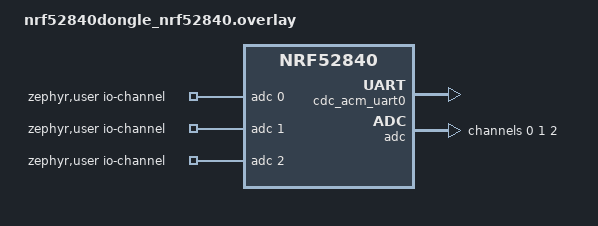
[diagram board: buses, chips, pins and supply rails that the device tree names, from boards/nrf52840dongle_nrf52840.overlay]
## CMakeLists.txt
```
#
# Copyright (c) 2018 Nordic Semiconductor
#
# SPDX-License-Identifier: LicenseRef-Nordic-5-Clause
#
cmake_minimum_required(VERSION 3.20.0)

find_package(Zephyr REQUIRED HINTS $ENV{ZEPHYR_BASE})
project(NONE)

# NORDIC SDK APP START
target_sources(app PRIVATE
  src/main.c
  src/my_lbs.c
  src/sensor.c
)

# NORDIC SDK APP END
zephyr_library_include_directories(.)

target_include_directories(app PRIVATE src)
```

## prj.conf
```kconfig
#
# Copyright (c) 2018 Nordic Semiconductor
#
# SPDX-License-Identifier: LicenseRef-Nordic-5-Clause
#
CONFIG_ADC=y
# Logger module
CONFIG_LOG=y

# Button and LED library
CONFIG_DK_LIBRARY=y

# Bluetooth LE
CONFIG_BT=y
CONFIG_BT_PERIPHERAL=y
CONFIG_BT_DEVICE_NAME="MY_LBS2"

# Increase stack size for the main thread and System Workqueue
CONFIG_SYSTEM_WORKQUEUE_STACK_SIZE=2048
CONFIG_MAIN_STACK_SIZE=2048
```

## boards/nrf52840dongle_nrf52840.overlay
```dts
/*
 * Copyright (c) 2021 Nordic Semiconductor ASA
 *
 * SPDX-License-Identifier: LicenseRef-Nordic-5-Clause
 */



/ {
	chosen {
		zephyr,console = &cdc_acm_uart0;
	};
};

&zephyr_udc0 {
	cdc_acm_uart0: cdc_acm_uart0 {
		compatible = "zephyr,cdc-acm-uart";
	};
};

&adc {
	status = "okay";
	#address-cells = <1>;
	#size-cells = <0>;

	channel@0 {
		reg = <0>;
		zephyr,gain = "ADC_GAIN_1_6";
		zephyr,reference = "ADC_REF_INTERNAL";
		zephyr,acquisition-time = <ADC_ACQ_TIME_DEFAULT>;
		zephyr,input-positive = <NRF_SAADC_AIN0>; /* P0.03 */
		zephyr,resolution = <12>;
	};

	channel@1 {
		reg = <1>;
		zephyr,gain = "ADC_GAIN_1_6";
		zephyr,reference = "ADC_REF_INTERNAL";
		zephyr,acquisition-time = <ADC_ACQ_TIME_DEFAULT>;
		zephyr,input-positive = <NRF_SAADC_AIN1>;
		zephyr,resolution = <12>;
		//zephyr,oversampling = <8>;
	};

	channel@2 {
		reg = <2>;
		zephyr,gain = "ADC_GAIN_1_6";
		zephyr,reference = "ADC_REF_INTERNAL";
		zephyr,acquisition-time = <ADC_ACQ_TIME_DEFAULT>;
		zephyr,input-positive = <NRF_SAADC_AIN2>;
		zephyr,resolution = <12>;
		//zephyr,oversampling = <8>;
	};


};

/ {
	zephyr,user {
		io-channels = <&adc 0>, <&adc 1>, <&adc 2>;
	};
};
```

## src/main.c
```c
/*
 * Copyright (c) 2023 Nordic Semiconductor ASA
 *
 * SPDX-License-Identifier: LicenseRef-Nordic-5-Clause
 */

#include <zephyr/kernel.h>
#include <zephyr/logging/log.h>
#include <zephyr/bluetooth/bluetooth.h>
#include <zephyr/bluetooth/gap.h>
#include <zephyr/bluetooth/uuid.h>
#include <zephyr/bluetooth/conn.h>
#include <dk_buttons_and_leds.h>
#include "my_lbs.h"
#include "sensor.h"

//Global variables here. I know its a bad practice
int currentDirection=0;


static const struct bt_le_adv_param *adv_param = BT_LE_ADV_PARAM(
	(BT_LE_ADV_OPT_CONN |
	 BT_LE_ADV_OPT_USE_IDENTITY), /* Connectable advertising and use identity address */
	800, /* Min Advertising Interval 500ms (800*0.625ms) */
	801, /* Max Advertising Interval 500.625ms (801*0.625ms) */
	NULL); /* Set to NULL for undirected advertising */

LOG_MODULE_REGISTER(Lesson4_Exercise2, LOG_LEVEL_INF);

#define DEVICE_NAME CONFIG_BT_DEVICE_NAME
#define DEVICE_NAME_LEN (sizeof(DEVICE_NAME) - 1)

#define RUN_STATUS_LED DK_LED1
#define CON_STATUS_LED DK_LED2
#define USER_LED DK_LED3
#define USER_BUTTON DK_BTN1_MSK

#define STACKSIZE 1024
#define PRIORITY 7

#define RUN_LED_BLINK_INTERVAL 1000
/* STEP 17 - Define the interval at which you want to send data at */
#define NOTIFY_INTERVAL 500
static bool app_button_state;
static struct k_work adv_work;
/* STEP 15 - Define the data you want to stream over Bluetooth LE */
static uint32_t app_sensor_value = 100;

static const struct bt_data ad[] = {
	BT_DATA_BYTES(BT_DATA_FLAGS, (BT_LE_AD_GENERAL | BT_LE_AD_NO_BREDR)),
	BT_DATA(BT_DATA_NAME_COMPLETE, DEVICE_NAME, DEVICE_NAME_LEN),

};

static const struct bt_data sd[] = {
	BT_DATA_BYTES(BT_DATA_UUID128_ALL, BT_UUID_LBS_VAL),
};

static void adv_work_handler(struct k_work *work)
{
	int err = bt_le_adv_start(adv_param, ad, ARRAY_SIZE(ad), sd, ARRAY_SIZE(sd));

	if (err) {
		printk("Advertising failed to start (err %d)\n", err);
		return;
	}

	printk("Advertising successfully started\n");
}
static void advertising_start(void)
{
	k_work_submit(&adv_work);
}
static void recycled_cb(void)
{
	printk("Connection object available from previous conn. Disconnect is complete!\n");
	advertising_start();
}
/* STEP 16 - Define a function to simulate the data */
static void simulate_data(void)
{
	app_sensor_value++;
	if (app_sensor_value == 200) {
		app_sensor_value = 100;
	}
}
static void app_led_cb(bool led_state)
{
	dk_set_led(USER_LED, led_state);
}

static bool app_button_cb(void)
{
	return app_button_state;
}

/* STEP 18.1 - Define the thread function  */
void send_data_thread(void)
{
	if(initializeADC() != 0)
	{
	printk("ADC initialization failed!");
	return;
	}

	while (1) {
		/* Simulate data */
		struct Measurement m = readADCValue();
		my_lbs_send_sensor_notify(0);
		my_lbs_send_sensor_notify(m.x);
		my_lbs_send_sensor_notify(m.y);
		my_lbs_send_sensor_notify(m.z);
		
		/* Send notification, the function sends notifications only if a client is subscribed */


		k_sleep(K_MSEC(NOTIFY_INTERVAL));
	}
}

/*void test_thread(void)
	{
	if(initializeADC() != 0)
	{
	printk("ADC initialization failed!");
	return;
	}

    while (1) {
		struct Measurement m = readADCValue();
		printk("x = %d,  y = %d,  z = %d\n",m.x,m.y,m.z);
        k_sleep(K_MSEC(1000));
    }
}*/


static struct my_lbs_cb app_callbacks = {
	.led_cb = app_led_cb,
	.button_cb = app_button_cb,
};

#define USER_BUTTON_1           DK_BTN1_MSK
#define USER_BUTTON_2           DK_BTN2_MSK
#define USER_BUTTON_3           DK_BTN3_MSK
#define USER_BUTTON_4           DK_BTN4_MSK



static void button_changed(uint32_t button_state, uint32_t has_changed)
{
	
	//printk("button_state = %d\n",button_state);
	//printk("has_changed = %d\n",has_changed);
	if ((has_changed & USER_BUTTON_1) && (button_state & USER_BUTTON_1)) 
	{
		printk("Nappi 1 alhaalla\n");
		++currentDirection;
		if (currentDirection>5){
			currentDirection=0;
		}
		printk("currentDirection changed to: %d", currentDirection);
	}

	if ((has_changed & USER_BUTTON_2) && (button_state & USER_BUTTON_2)) 
	{
		printk("Nappi 2 alhaalla\n");
		currentDirection=2;
	}		
	
	if ((has_changed & USER_BUTTON_3) && (button_state & USER_BUTTON_3)) 
	{
		printk("Nappi 3 alhaalla\n");
		currentDirection=3;
	}		

	if ((has_changed & USER_BUTTON_4) && (button_state & USER_BUTTON_4)) 
	{
		printk("Nappi 4 alhaalla\n");
		currentDirection=4;
	}		
}
static void on_connected(struct bt_conn *conn, uint8_t err)
{
	if (err) {
		printk("Connection failed (err %u)\n", err);
		return;
	}

	printk("Connected\n");

	dk_set_led_on(CON_STATUS_LED);
}

static void on_disconnected(struct bt_conn *conn, uint8_t reason)
{
	printk("Disconnected (reason %u)\n", reason);

	dk_set_led_off(CON_STATUS_LED);
}

struct bt_conn_cb connection_callbacks = {
	.connected = on_connected,
	.disconnected = on_disconnected,
	.recycled = recycled_cb,
};

static int init_button(void)
{
	int err;

	err = dk_buttons_init(button_changed);
	if (err) {
		printk("Cannot init buttons (err: %d)\n", err);
	}

	return err;
}



int main(void)
{
	

	int blink_status = 0;
	int err;
	
	

	LOG_INF("Starting Lesson 4 - Exercise 2 \n");

	err = dk_leds_init();
	if (err) {
		LOG_ERR("LEDs init failed (err %d)\n", err);
		return -1;
	}

	err = init_button();
	if (err) {
		printk("Button init failed (err %d)\n", err);
		return -1;
	}

	err = bt_enable(NULL);
	if (err) {
		LOG_ERR("Bluetooth init failed (err %d)\n", err);
		return -1;
	}
	bt_conn_cb_register(&connection_callbacks);

	err = my_lbs_init(&app_callbacks);
	if (err) {
		printk("Failed to init LBS (err:%d)\n", err);
		return -1;
	}
	LOG_INF("Bluetooth initialized\n");
	k_work_init(&adv_work, adv_work_handler);
	advertising_start();
	for (;;) {
		dk_set_led(RUN_STATUS_LED, (++blink_status) % 2);
		k_sleep(K_MSEC(RUN_LED_BLINK_INTERVAL));
	}


	

}
/* STEP 18.2 - Define and initialize a thread to send data periodically */
K_THREAD_DEFINE(send_data_thread_id, STACKSIZE, send_data_thread, NULL, NULL, NULL, PRIORITY, 0, 0);
//K_THREAD_DEFINE(test_tid, 1024, test_thread, NULL, NULL, NULL, 7, 0, 0);
```

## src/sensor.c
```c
#include <hal/nrf_saadc.h>
#include <zephyr/kernel.h>
#include <zephyr/device.h>
#include <zephyr/devicetree.h>
#include <zephyr/drivers/adc.h>
#include <zephyr/sys/printk.h>
#include <zephyr/sys/util.h>
#include <zephyr/sys/printk.h>

#include <zephyr/types.h>
#include <stddef.h>
#include <string.h>
#include <errno.h>
#include <zephyr/sys/printk.h>
#include <zephyr/sys/byteorder.h>
#include <zephyr/kernel.h>
#include <zephyr/logging/log.h>
#include <zephyr/bluetooth/bluetooth.h>
#include <zephyr/bluetooth/hci.h>
#include <zephyr/bluetooth/conn.h>
#include <zephyr/bluetooth/uuid.h>
#include <zephyr/bluetooth/gatt.h>
#include <sensor.h>



#if !DT_NODE_EXISTS(DT_PATH(zephyr_user)) || \
	!DT_NODE_HAS_PROP(DT_PATH(zephyr_user), io_channels)
#error "No suitable devicetree overlay specified"
#endif

#define DT_SPEC_AND_COMMA(node_id, prop, idx) \
	ADC_DT_SPEC_GET_BY_IDX(node_id, idx),

static const struct adc_dt_spec adc_channels[] = {
	DT_FOREACH_PROP_ELEM(DT_PATH(zephyr_user), io_channels,
			     DT_SPEC_AND_COMMA)
};


int initializeADC(void)
{

    int err;
	
	for (size_t i = 0U; i < ARRAY_SIZE(adc_channels); i++) {
		if (!device_is_ready(adc_channels[i].dev)) {
			printk("ADC controller device not ready\n");
			return -1;
		}

		err = adc_channel_setup_dt(&adc_channels[i]);
		if (err < 0) {
			printk("Could not setup channel #%d (%d)\n", i, err);
			return -1;
		}
	}

    return 0;

}

struct Measurement readADCValue(void)
{
	int16_t buf;
    struct Measurement m;
    struct adc_sequence sequence = {
	  .buffer = &buf,

	  .buffer_size = sizeof(buf),
    };

    //printk("ADC reading:\n");
	for (size_t i = 0U; i < ARRAY_SIZE(adc_channels); i++) 
    {
		int err;
        int32_t val_mv;
        // For debug use... 
		/*
        printk("- %s, channel %d: ",
		       adc_channels[i].dev->name,
		       adc_channels[i].channel_id);
        */

		(void)adc_sequence_init_dt(&adc_channels[i], &sequence);

		err = adc_read(adc_channels[i].dev, &sequence);
		if (err < 0) {
			printk("Could not read (%d)\n", err);
			continue;
		} else {
            if(i==0)
            {
                m.x = val_mv;
            }
            else if (i==1)
            {
               m.y = val_mv;
            }
            else if (i==2)
            {
                m.z = val_mv;
            }           
			//printk("%"PRId16, buf);
		}

		
		val_mv = buf;
		err = adc_raw_to_millivolts_dt(&adc_channels[i],&val_mv);
		if (err < 0) 
        {
			printk(" (value in mV not available)\n");
		} 
        else 
        {
			if(i==0)
            {
                m.x = val_mv;
            }
            else if (i==1)
            {
               m.y = val_mv;
            }
            else if (i==2)
            {
                m.z = val_mv;
            }           
            //printk(" = %"PRId32" mV\n", val_mv);
		}
	}
    return m;
}
```

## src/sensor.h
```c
#ifndef ADC_H_KJJ
#define ADC_H_KJJ

#include <zephyr/types.h>
#include <stddef.h>
#include <string.h>
#include <errno.h>
#include <zephyr/sys/printk.h>
#include <zephyr/sys/byteorder.h>
#include <zephyr/kernel.h>
#include <zephyr/logging/log.h>
#include <zephyr/bluetooth/bluetooth.h>
#include <zephyr/bluetooth/hci.h>
#include <zephyr/bluetooth/conn.h>
#include <zephyr/bluetooth/uuid.h>
#include <zephyr/bluetooth/gatt.h>

struct Measurement
{
   uint16_t x;
   uint16_t y;
   uint16_t z;
};

int initializeADC(void);
struct Measurement readADCValue(void);
void printDebugInfo(void);
extern int currentDirection;


#endif
```
